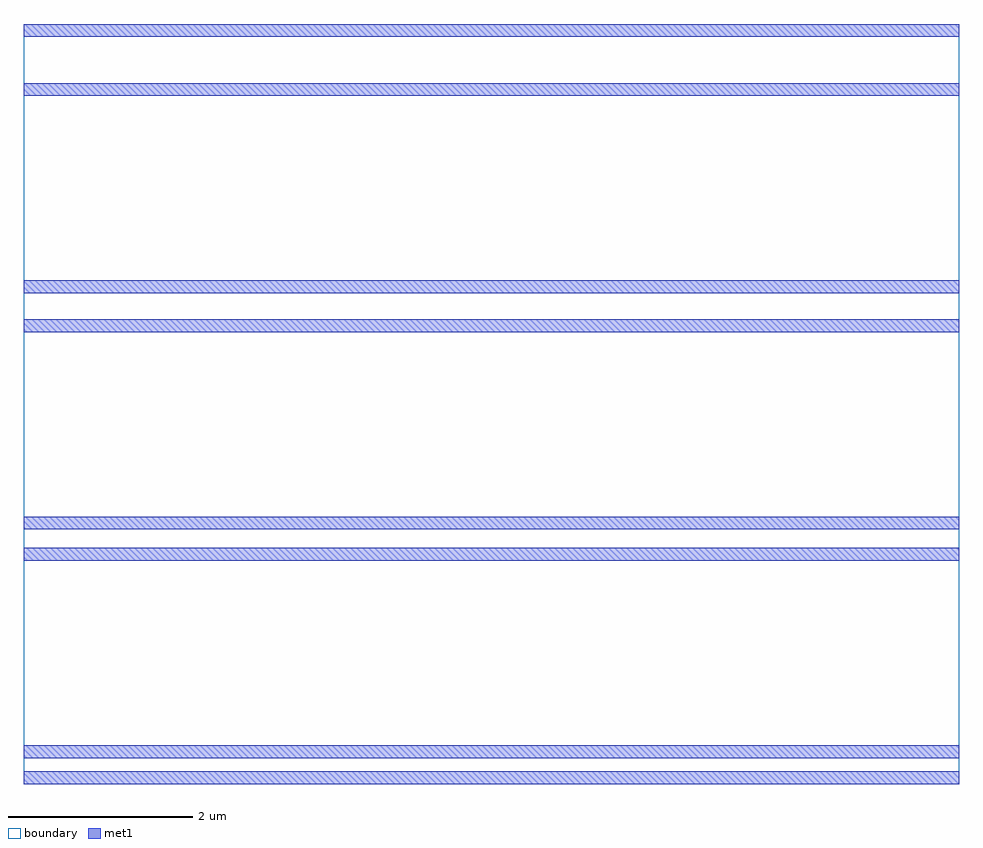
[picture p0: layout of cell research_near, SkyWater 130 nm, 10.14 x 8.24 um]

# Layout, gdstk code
import gdstk
lib = gdstk.Library(unit=1e-6, precision=1e-09)
def R(c, l, rs):  # rectangles x0, y0, x1, y1
    for r in rs: c.add(gdstk.rectangle(r[:2], r[2:], *l))
met1 = (68, 20)
boundary = (235, 4)

research_near = lib.new_cell('research_near')
R(research_near, met1, [(0,0,10.14,0.14), (0,0.28,10.14,0.42), (0,2.42,10.14,2.56), (0,2.76,10.14,2.9), (0,4.9,10.14,5.04), (0,5.32,10.14,5.46), (0,7.46,10.14,7.6), (0,8.1,10.14,8.24)])
R(research_near, boundary, [(0,0,10.14,8.24)])

lib.write_gds('research_near.gds')
